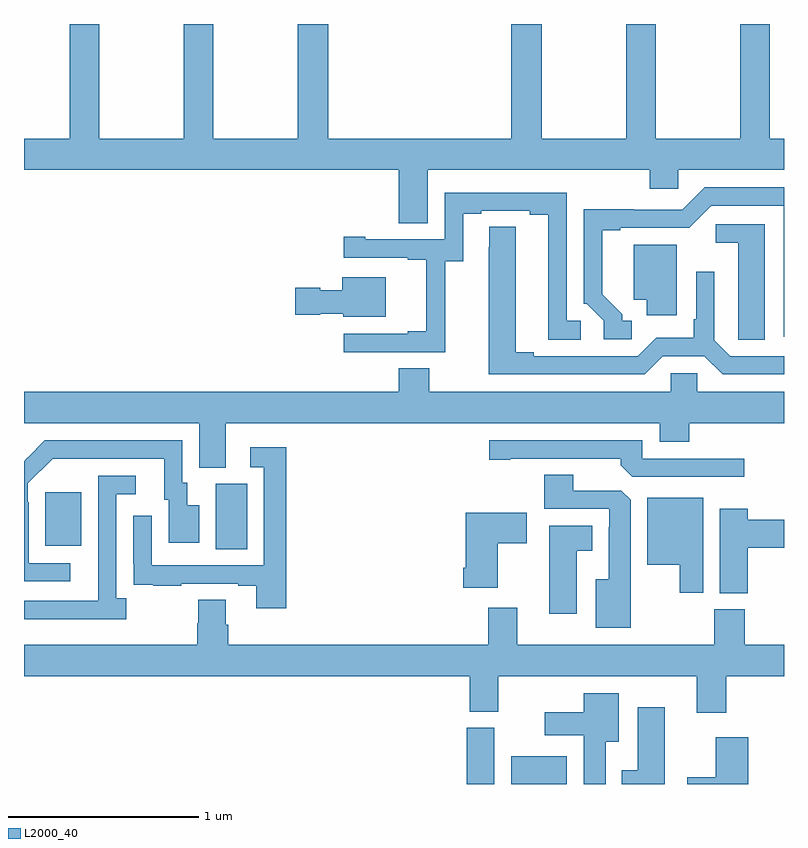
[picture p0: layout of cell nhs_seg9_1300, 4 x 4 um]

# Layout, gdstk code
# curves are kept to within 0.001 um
import gdstk
lib = gdstk.Library(unit=1e-6, precision=1e-09)
def R(c, l, rs):  # rectangles x0, y0, x1, y1
    for r in rs: c.add(gdstk.rectangle(r[:2], r[2:], *l))
def P(c, l, *ps):  # polygons
    for p in ps: c.add(gdstk.Polygon(p, *l))
L2000_40 = (2000, 40)

nhs_seg9_1300 = lib.new_cell('nhs_seg9_1300')
R(nhs_seg9_1300, L2000_40, [(185.33,1214.5,185.476,1214.796), (185.564,1214.5,185.857,1214.647), (184.01,1215.736,184.174,1216.08), (183.113,1215.755,183.301,1216.036)])
P(nhs_seg9_1300, L2000_40, [(185.125,1217.732),(186.293,1217.732),(186.293,1217.634),(186.444,1217.634),(186.444,1217.732),(187,1217.732),(187,1217.896),(186.924,1217.896),(186.924,1218.5),(186.769,1218.5),(186.769,1217.896),(186.324,1217.896),(186.324,1218.5),(186.169,1218.5),(186.169,1217.896),(185.724,1217.896),(185.724,1218.5),(185.564,1218.5),(185.564,1217.896),(184.601,1217.896),(184.601,1218.5),(184.441,1218.5),(184.441,1217.896),(183.996,1217.896),(183.996,1218.5),(183.841,1218.5),(183.841,1217.896),(183.396,1217.896),(183.396,1218.5),(183.241,1218.5),(183.241,1217.896),(183,1217.896),(183,1217.732),(184.973,1217.732),(184.973,1217.452),(185.125,1217.452)],
  [(186.199,1216.938),(186.148,1216.938),(186.148,1216.973),(186.043,1217.078),(186.043,1217.415),(186.139,1217.415),(186.139,1217.427),(186.501,1217.427),(186.618,1217.544),(186.998,1217.544),(186.998,1216.854),(187,1216.854),(187,1217.64),(186.582,1217.64),(186.465,1217.523),(186.209,1217.523),(186.209,1217.525),(185.946,1217.525),(185.946,1217.028),(185.961,1217.028),(186.051,1216.938),(186.051,1216.842),(186.199,1216.842)],
  [(185.217,1217.251),(185.311,1217.251),(185.311,1217.502),(185.407,1217.502),(185.407,1217.517),(185.663,1217.517),(185.663,1217.497),(185.759,1217.497),(185.759,1216.837),(185.929,1216.837),(185.929,1216.938),(185.856,1216.938),(185.856,1217.613),(185.214,1217.613),(185.214,1217.367),(184.795,1217.367),(184.795,1217.38),(184.683,1217.38),(184.683,1217.271),(185.021,1217.271),(185.021,1217.259),(185.117,1217.259),(185.117,1216.882),(185.021,1216.882),(185.021,1216.869),(184.683,1216.869),(184.683,1216.773),(185.217,1216.773)],
  [(186.898,1217.445),(186.642,1217.445),(186.642,1217.348),(186.758,1217.348),(186.758,1216.945),(186.759,1216.945),(186.759,1216.837),(186.898,1216.837)],
  [(186.363,1216.752),(186.581,1216.752),(186.677,1216.656),(187,1216.656),(187,1216.752),(186.717,1216.752),(186.633,1216.836),(186.633,1217.197),(186.537,1217.197),(186.537,1216.945),(186.525,1216.945),(186.525,1216.848),(186.327,1216.848),(186.231,1216.752),(185.683,1216.752),(185.683,1216.772),(185.587,1216.772),(185.587,1217.432),(185.448,1217.432),(185.447,1216.656),(186.267,1216.656)],
  [(186.436,1217.338),(186.209,1217.338),(186.209,1217.048),(186.278,1217.048),(186.278,1216.968),(186.436,1216.968)],
  [(184.903,1217.167),(184.676,1217.167),(184.676,1217.098),(184.56,1217.098),(184.56,1217.111),(184.428,1217.111),(184.428,1216.969),(184.56,1216.969),(184.56,1216.976),(184.68,1216.976),(184.68,1216.958),(184.903,1216.958)],
  [(184.063,1216.4),(186.347,1216.4),(186.347,1216.301),(186.5,1216.301),(186.5,1216.4),(187,1216.4),(187,1216.564),(186.543,1216.564),(186.543,1216.662),(186.405,1216.662),(186.405,1216.564),(185.133,1216.564),(185.133,1216.688),(184.973,1216.688),(184.973,1216.564),(183,1216.564),(183,1216.4),(183.923,1216.4),(183.923,1216.165),(184.063,1216.165)],
  [(183.244,1215.663),(183.024,1215.663),(183.024,1215.983),(183.021,1215.983),(183.021,1216.083),(183.15,1216.212),(183.737,1216.212),(183.737,1215.996),(183.761,1215.996),(183.761,1215.771),(183.922,1215.771),(183.922,1215.967),(183.859,1215.967),(183.859,1216.086),(183.834,1216.086),(183.834,1216.308),(183.11,1216.308),(183.019,1216.217),(183.018,1216.218),(183,1216.2),(183,1215.567),(183.244,1215.567)],
  [(186.79,1216.212),(186.255,1216.212),(186.255,1216.308),(185.448,1216.308),(185.448,1216.207),(185.56,1216.207),(185.56,1216.212),(186.14,1216.212),(186.14,1216.178),(186.201,1216.116),(186.79,1216.116)],
  [(184.379,1216.273),(184.191,1216.273),(184.191,1216.167),(184.263,1216.167),(184.263,1215.651),(183.672,1215.651),(183.672,1215.913),(183.576,1215.913),(183.576,1215.658),(183.577,1215.658),(183.577,1215.549),(183.679,1215.549),(183.679,1215.543),(183.827,1215.543),(183.827,1215.555),(184.127,1215.555),(184.127,1215.543),(184.223,1215.543),(184.223,1215.426),(184.379,1215.426)],
  [(186.193,1215.995),(186.144,1216.044),(185.89,1216.044),(185.89,1216.127),(185.738,1216.127),(185.738,1215.948),(186.081,1215.948),(186.081,1215.851),(186.077,1215.851),(186.077,1215.577),(186.008,1215.577),(186.008,1215.323),(186.193,1215.323)],
  [(183.538,1215.478),(183.486,1215.478),(183.486,1216.026),(183.589,1216.026),(183.589,1216.122),(183.39,1216.122),(183.39,1215.465),(183,1215.465),(183,1215.368),(183.538,1215.368)],
  [(186.574,1216.006),(186.281,1216.006),(186.281,1215.653),(186.452,1215.653),(186.452,1215.507),(186.574,1215.507)],
  [(186.809,1215.743),(187,1215.743),(187,1215.89),(186.809,1215.89),(186.809,1215.949),(186.662,1215.949),(186.662,1215.505),(186.809,1215.505)],
  [(185.494,1215.766),(185.647,1215.766),(185.647,1215.928),(185.324,1215.928),(185.324,1215.637),(185.312,1215.637),(185.312,1215.533),(185.494,1215.533)],
  [(185.908,1215.728),(185.992,1215.728),(185.992,1215.859),(185.765,1215.859),(185.765,1215.396),(185.908,1215.396)],
  [(186.695,1215.068),(187,1215.068),(187,1215.232),(186.794,1215.232),(186.794,1215.42),(186.634,1215.42),(186.634,1215.232),(185.596,1215.232),(185.596,1215.427),(185.444,1215.427),(185.444,1215.232),(184.076,1215.232),(184.076,1215.338),(184.063,1215.338),(184.063,1215.47),(183.916,1215.47),(183.916,1215.345),(183.911,1215.345),(183.911,1215.232),(183,1215.232),(183,1215.068),(185.345,1215.068),(185.345,1214.881),(185.497,1214.881),(185.497,1215.068),(186.542,1215.068),(186.542,1214.874),(186.695,1214.874)],
  [(186.061,1214.723),(186.13,1214.723),(186.13,1214.977),(185.945,1214.977),(185.945,1214.878),(185.742,1214.878),(185.742,1214.756),(185.945,1214.756),(185.945,1214.5),(186.061,1214.5)],
  [(186.373,1214.905),(186.23,1214.905),(186.23,1214.572),(186.146,1214.572),(186.146,1214.5),(186.373,1214.5)],
  [(186.812,1214.746),(186.641,1214.746),(186.641,1214.535),(186.492,1214.535),(186.492,1214.5),(186.812,1214.5)])

lib.write_gds('nhs_seg9_1300.gds')
